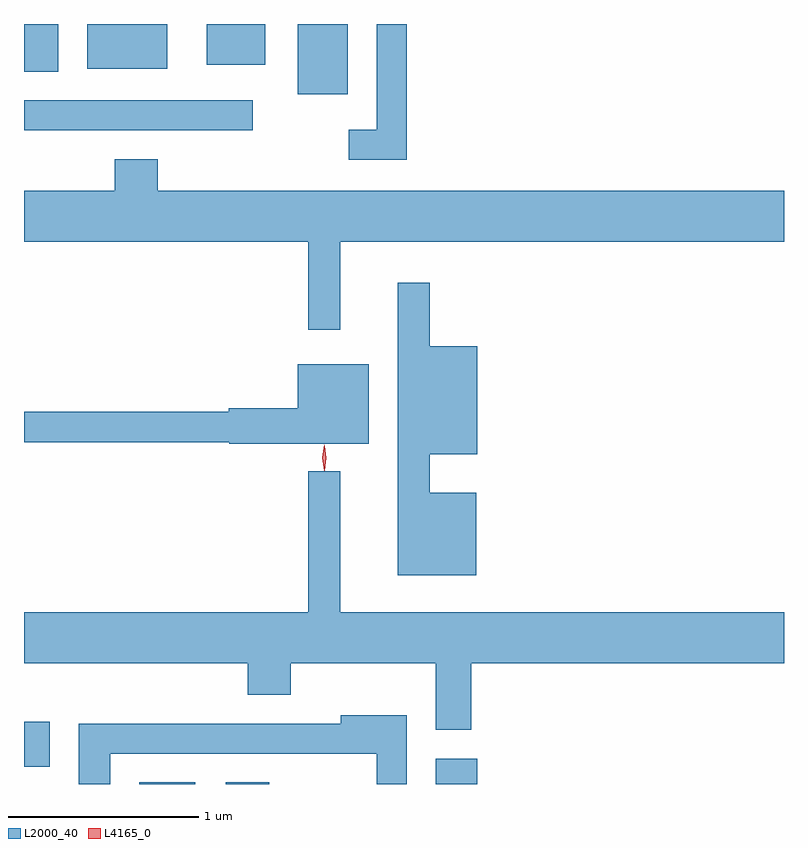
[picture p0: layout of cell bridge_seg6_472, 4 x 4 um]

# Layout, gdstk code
import gdstk
lib = gdstk.Library(unit=1e-6, precision=1e-09)
def R(c, l, rs):  # rectangles x0, y0, x1, y1
    for r in rs: c.add(gdstk.rectangle(r[:2], r[2:], *l))
def P(c, l, *ps):  # polygons
    for p in ps: c.add(gdstk.Polygon(p, *l))
L2000_40 = (2000, 40)
L4165_0 = (4165, 0)

bridge_seg6_472 = lib.new_cell('bridge_seg6_472')
R(bridge_seg6_472, L2000_40, [(684.731,1589.361,685.024,1589.369), (685.186,1589.361,685.414,1589.369), (686.291,1589.361,686.509,1589.494), (684.124,1589.451,684.259,1589.688), (684.124,1592.801,685.328,1592.959), (685.566,1592.991,685.829,1593.361), (684.124,1593.111,684.304,1593.361), (684.456,1593.126,684.879,1593.361), (685.086,1593.146,685.394,1593.361)])
P(bridge_seg6_472, L2000_40, [(686.139,1593.361),(685.981,1593.361),(685.981,1592.804),(685.833,1592.804),(685.833,1592.646),(686.139,1592.646)],
  [(685.789,1592.216),(688.124,1592.216),(688.124,1592.484),(684.829,1592.484),(684.829,1592.649),(684.601,1592.649),(684.601,1592.484),(684.124,1592.484),(684.124,1592.216),(685.621,1592.216),(685.621,1591.753),(685.789,1591.753)],
  [(686.504,1590.894),(686.259,1590.894),(686.259,1591.096),(686.509,1591.096),(686.509,1591.664),(686.259,1591.664),(686.259,1591.998),(686.091,1591.998),(686.091,1590.461),(686.504,1590.461)],
  [(685.939,1591.569),(685.566,1591.569),(685.566,1591.339),(685.201,1591.339),(685.201,1591.319),(684.124,1591.319),(684.124,1591.161),(685.205,1591.161),(685.205,1591.151),(685.939,1591.151)],
  [(686.479,1589.996),(688.124,1589.996),(688.124,1590.264),(685.789,1590.264),(685.789,1591.008),(685.621,1591.008),(685.621,1590.264),(684.124,1590.264),(684.124,1589.996),(685.301,1589.996),(685.301,1589.831),(685.529,1589.831),(685.529,1589.996),(686.291,1589.996),(686.291,1589.646),(686.479,1589.646)],
  [(684.579,1589.521),(685.981,1589.521),(685.981,1589.361),(686.139,1589.361),(686.139,1589.724),(685.791,1589.724),(685.791,1589.679),(684.411,1589.679),(684.411,1589.361),(684.579,1589.361)])
P(bridge_seg6_472, L4165_0, [(685.704,1591.01),(685.695,1591.078),(685.704,1591.146),(685.704,1591.146),(685.705,1591.146),(685.715,1591.078),(685.706,1591.01),(685.705,1591.01)],
  [(685.704,1591.013),(685.696,1591.077),(685.706,1591.141),(685.706,1591.141),(685.707,1591.141),(685.716,1591.077),(685.706,1591.013),(685.705,1591.013)])

lib.write_gds('bridge_seg6_472.gds')
